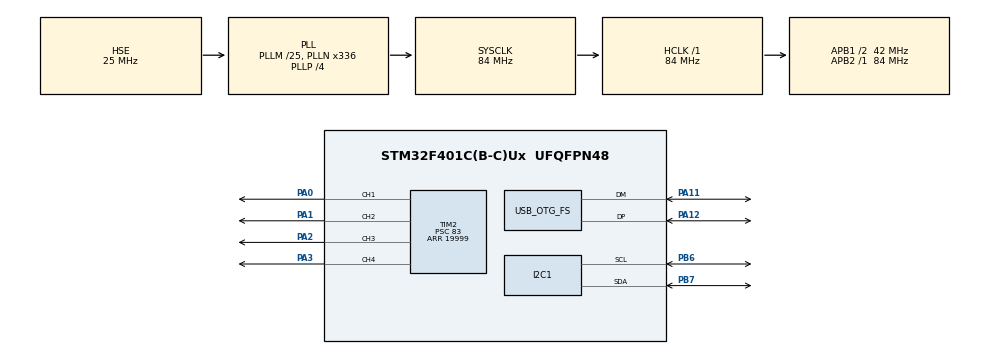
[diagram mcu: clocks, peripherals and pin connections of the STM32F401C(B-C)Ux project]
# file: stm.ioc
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Mcu.Family=STM32F4
Mcu.Name=STM32F401C(B-C)Ux
Mcu.Package=UFQFPN48
NVIC.OTG_FS_IRQn=true\:0\:0\:false\:false\:true\:false\:true\:true
NVIC.PriorityGroup=NVIC_PRIORITYGROUP_4
PA0-WKUP.Signal=S_TIM2_CH1_ETR
PA1.Signal=S_TIM2_CH2
PA11.Mode=Device_Only
PA11.Signal=USB_OTG_FS_DM
PA12.Mode=Device_Only
PA12.Signal=USB_OTG_FS_DP
PA2.Signal=S_TIM2_CH3
PA3.Signal=S_TIM2_CH4
PB6.GPIO_Pu=GPIO_PULLUP
PB6.Mode=I2C
PB6.Signal=I2C1_SCL
PB7.GPIO_Pu=GPIO_PULLUP
PB7.Mode=I2C
PB7.Signal=I2C1_SDA
PH0\ -\ OSC_IN.Mode=HSE-External-Oscillator
PH0\ -\ OSC_IN.Signal=RCC_OSC_IN
PH1\ -\ OSC_OUT.Mode=HSE-External-Oscillator
PH1\ -\ OSC_OUT.Signal=RCC_OSC_OUT
ProjectManager.HeapSize=0x200
ProjectManager.StackSize=0x400
ProjectManager.TargetToolchain=Makefile
RCC.48MHZClocksFreq_Value=48000000
RCC.AHBFreq_Value=84000000
RCC.APB1CLKDivider=RCC_HCLK_DIV2
RCC.APB1Freq_Value=42000000
RCC.APB1TimFreq_Value=84000000
RCC.APB2Freq_Value=84000000
RCC.APB2TimFreq_Value=84000000
RCC.CortexFreq_Value=84000000
RCC.HCLKFreq_Value=84000000
RCC.HSE_VALUE=25000000
RCC.HSI_VALUE=16000000
RCC.LSE_VALUE=32768
RCC.PLLM=25
RCC.PLLN=336
RCC.PLLP=RCC_PLLP_DIV4
RCC.PLLQ=7
RCC.SYSCLKFreq_VALUE=84000000
RCC.SYSCLKSource=RCC_SYSCLKSOURCE_PLLCLK
RCC.VCOOutputFreq_Value=336000000
SH.S_TIM2_CH1_ETR.0=TIM2_CH1,PWM Generation1 CH1
SH.S_TIM2_CH2.0=TIM2_CH2,PWM Generation2 CH2
SH.S_TIM2_CH3.0=TIM2_CH3,PWM Generation3 CH3
SH.S_TIM2_CH4.0=TIM2_CH4,PWM Generation4 CH4
TIM2.AutoReloadPreload=TIM_AUTORELOAD_PRELOAD_ENABLE
TIM2.Channel-PWM\ Generation1\ CH1=TIM_CHANNEL_1
TIM2.Channel-PWM\ Generation2\ CH2=TIM_CHANNEL_2
TIM2.Channel-PWM\ Generation3\ CH3=TIM_CHANNEL_3
TIM2.Channel-PWM\ Generation4\ CH4=TIM_CHANNEL_4
TIM2.Period=19999
TIM2.Prescaler=83
TIM2.Pulse-PWM\ Generation1\ CH1=1500
TIM2.Pulse-PWM\ Generation2\ CH2=1500
TIM2.Pulse-PWM\ Generation3\ CH3=1500
TIM2.Pulse-PWM\ Generation4\ CH4=1500
USB_DEVICE.CLASS_NAME_FS=CDC
USB_DEVICE.VirtualMode=Cdc
USB_DEVICE.VirtualModeFS=Cdc_FS
USB_OTG_FS.VirtualMode=Device_Only
VP_TIM2_VS_ClockSourceINT.Mode=Internal
VP_USB_DEVICE_VS_USB_DEVICE_CDC_FS.Mode=CDC_FS
board=custom

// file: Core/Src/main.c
/* USER CODE BEGIN Header */
/**
  ******************************************************************************
  * @file           : main.c
  * @brief          : Main program body
  ******************************************************************************
  * @attention
  *
  * Copyright (c) 2026 STMicroelectronics.
  * All rights reserved.
  *
  * This software is licensed under terms that can be found in the LICENSE file
  * in the root directory of this software component.
  * If no LICENSE file comes with this software, it is provided AS-IS.
  *
  ******************************************************************************
  */
/* USER CODE END Header */
#include "main.h"
#include "mpu6050.h"
#include "attitude.h"
#include "servo.h"
#include "usbd_cdc_if.h"
#include "usb_device.h"
#include <stdio.h>
#include <string.h>
#include <math.h>

I2C_HandleTypeDef hi2c1;

TIM_HandleTypeDef htim2;

/* USER CODE BEGIN PV */
MPU6050_t  imu;
Attitude_t att;
Servo_t    s1, s2, s3, s4;

char       log_buf[512];
uint32_t   t_ctrl = 0;
uint32_t   t_log  = 0;

#define CTRL_MS   2     // 1000 Hz 控制週期
#define LOG_MS  100     // 10 Hz log

// 速度型 PID (Velocity Form) 狀態變數
float target_mech_pitch = 0.0f;
float target_mech_roll  = 0.0f;

float pitch_prev_err  = 0.0f;
float roll_prev_err   = 0.0f;
float pitch_d_err_lpf = 0.0f;
float roll_d_err_lpf  = 0.0f;

/* Keep last commanded servo angles to avoid tiny jitter updates */
float last_s1_angle = 90.0f;
float last_s2_angle = 90.0f;
float last_s3_angle = 90.0f;
float last_s4_angle = 90.0f;

// 速度型控制增益（對應實際 PID：I 與 P）
#define KI  0.01f   // I 步進增益(累積回正力): 調高可更快消除中小誤差但較易過衝/低頻擺動; 調低更穩但殘差較大、回正較慢
#define KP  0.1f    // P 差分增益(阻尼/煞車): 調高可更抑制過衝與快速晃動但可能變鈍、放大噪聲; 調低反應較靈敏但較容易震盪
#define MAX_MECH_ANGLE  50.0f   // 機構安全極限角度
#define MIN_MECH_ANGLE -50.0f
#define ERR_SOFT_DEADBAND_DEG  0.3f  // 軟死區(度): 調高可減少抖動但殘差變大; 調低可改善小誤差回正但可能更容易微抖
#define DERR_LPF_ALPHA   0.85f    // 差分低通係數(0~1): 調高更平滑、噪聲更少但反應較慢; 調低反應更快但更容易受噪聲影響
#define TARGET_LEAK_GAIN 0.004f   // 目標角泄放係數(每迴圈往0拉回): 調高可抑制累積與自激但殘差可能變大; 調低回正力可維持較久但可能累積過頭
#define MAX_STEP_PER_LOOP  0.6f   // 每迴圈最大步進(度/loop): 調高回正更快但過衝風險增加; 調低更穩定但回正較慢

// 記錄平台水平 (0度) 時，公式算出來的初始機構角度基準，用來對應伺服馬達的 90 度，用來扣除的
// cmd.angle - base_alpha = delta_alpha -> motor angle = 90 + delta_alpha
float base_alpha_R = 0.0f;
float base_alpha_L = 0.0f;
uint32_t last_ctrl_tick = 0;

// ─── 分析記錄模式 ──────────────────────────────────────────
#define ANALYSIS_MODE              1       // 1=高速DATA輸出, 0=普通可讀log
#define DISTURBANCE_THRESHOLD_DEG  3.0f
#define SETTLED_THRESHOLD_DEG      0.5f
#define SETTLED_HOLD_LOOPS         50

// DWT 計時變數 (μs)
volatile uint32_t t_imu_us   = 0;
volatile uint32_t t_filt_us  = 0;
volatile uint32_t t_pid_us   = 0;
volatile uint32_t t_geom_us  = 0;
volatile uint32_t t_servo_us = 0;
volatile uint32_t t_total_us = 0;

// Deadline 統計
volatile uint32_t deadline_miss_count = 0;
volatile uint32_t total_loop_count    = 0;
volatile uint32_t worst_case_us       = 0;

// Step response 偵測狀態
typedef enum { SR_IDLE=0, SR_DISTURBED=1, SR_SETTLING=2, SR_SETTLED=3 } SettlingState;
SettlingState settling_state     = SR_IDLE;
uint32_t      disturbance_tick   = 0;
uint32_t      settled_tick       = 0;
float         peak_disturbance   = 0.0f;
uint32_t      settle_hold_counter = 0;
float         settling_time_ms   = 0.0f;
uint32_t      response_count     = 0;
/* USER CODE END PV */

void SystemClock_Config(void);
static void MX_GPIO_Init(void);
static void MX_I2C1_Init(void);
static void MX_TIM2_Init(void);

/* USER CODE BEGIN 0 */
#ifndef M_PI
#define M_PI 3.14159265358979323846f
#endif

typedef struct {
    float length_L;
    float length_R;
    float angle_L;
    float angle_R;
} ActuatorTarget;

#define CALIB_SETTLE_MS   1200U
#define CALIB_SAMPLES     120U
#define SERVO_UPDATE_DEADBAND 0.5f

#define CALIB_MIN_SPAN_DEG 5.0f

static float adaptive_step_limit(float error_deg)
{
  float abs_error = fabsf(error_deg);

  if (abs_error < 4.0f) {
    return 0.12f;
  }
  if (abs_error < 10.0f) {
    return 0.25f;
  }
  if (abs_error < 20.0f) {
    return 0.40f;
  }
  return MAX_STEP_PER_LOOP;
}

static float apply_soft_deadband(float err_deg, float deadband_deg)
{
  float abs_err = fabsf(err_deg);

  if (abs_err <= deadband_deg) {
    return 0.0f;
  }

  return (err_deg > 0.0f) ? (err_deg - deadband_deg) : (err_deg + deadband_deg);
}

ActuatorTarget calculateTargets(float theta_deg, float a, float b, float k, float C) {
    ActuatorTarget target;

    // 1. 將角度轉換為弧度
    float theta_rad = theta_deg * M_PI / 180.0f;

    // 2. 預先計算 sin 和 cos
    float sin_t = sinf(theta_rad);
    float cos_t = cosf(theta_rad);

    // 3. 代入公式計算 l_R 與 l_L (注意這裡拆解成 X與Y 的平方相加)
    float dx_R = -a * sin_t + k * cos_t - k;
    float dy_R = b + a * cos_t + k * sin_t;
    target.length_R = sqrtf(dx_R * dx_R + dy_R * dy_R);

    float dx_L = -a * sin_t - k * cos_t + k;
    float dy_L = b + a * cos_t - k * sin_t;
    target.length_L = sqrtf(dx_L * dx_L + dy_L * dy_L);

    // 4. 計算馬達旋轉角度 (alpha)
    target.angle_R = (360.0f * target.length_R) / C;
    target.angle_L = (360.0f * target.length_L) / C;

    return target;
}

// ─── DWT Cycle Counter (Cortex-M4, SYSCLK = 84MHz) ───────────────────────────
static inline void DWT_Init(void)
{
    CoreDebug->DEMCR |= CoreDebug_DEMCR_TRCENA_Msk;
    DWT->CYCCNT = 0;
    DWT->CTRL  |= DWT_CTRL_CYCCNTENA_Msk;
}
static inline uint32_t DWT_GetCycles(void)  { return DWT->CYCCNT; }
static inline uint32_t Cycles_to_us(uint32_t c) { return c / 84; }

// ─── Step Response 狀態機 ──────────────────────────────────────────────────
static void StepResponse_Update(float pitch, float roll, uint32_t now_ms)
{
    float mag = sqrtf(pitch * pitch + roll * roll);
    switch (settling_state) {
    case SR_IDLE:
        if (mag > DISTURBANCE_THRESHOLD_DEG) {
            settling_state = SR_DISTURBED;
            disturbance_tick = now_ms;
            peak_disturbance = mag;
            settle_hold_counter = 0;
            response_count++;
        }
        break;
    case SR_DISTURBED:
        if (mag > peak_disturbance) peak_disturbance = mag;
        settling_state = SR_SETTLING;
        break;
    case SR_SETTLING:
        if (mag > peak_disturbance) peak_disturbance = mag;
        if (mag < SETTLED_THRESHOLD_DEG) {
            if (++settle_hold_counter >= SETTLED_HOLD_LOOPS) {
                settling_state   = SR_SETTLED;
                settled_tick     = now_ms;
                settling_time_ms = (float)(settled_tick - disturbance_tick);
            }
        } else {
            settle_hold_counter = 0;
        }
        break;
    case SR_SETTLED: {
        int sn = sprintf(log_buf,
            "STEP_RESP,%lu,peak=%.2f,settle=%.1fms,resp#%lu\r\n",
            (unsigned long)disturbance_tick, peak_disturbance,
            settling_time_ms, (unsigned long)response_count);
        CDC_Transmit_FS((uint8_t*)log_buf, sn);
        HAL_Delay(2);
        settling_state = SR_IDLE;
        break;
		}
    }
}

/* USER CODE END 0 */

int main(void)
{

  /* MCU Configuration--------------------------------------------------------*/

  /* Reset of all peripherals, Initializes the Flash interface and the Systick. */
  HAL_Init();

  /* Configure the system clock */
  SystemClock_Config();

  /* Initialize all configured peripherals */
  MX_GPIO_Init();
  MX_I2C1_Init();
  MX_TIM2_Init();
  MX_USB_DEVICE_Init();

  /* USER CODE BEGIN 2 */
  // HAL_Delay(3000);  // 等 USB CDC 連上

  int n;

  /* ── Servo 初始化 ── */
  Servo_Init(&s1, &htim2, TIM_CHANNEL_1);  // P0, pitch
  Servo_Init(&s2, &htim2, TIM_CHANNEL_2);  // P1, roll
  Servo_Init(&s3, &htim2, TIM_CHANNEL_3);  // P2, roll
  Servo_Init(&s4, &htim2, TIM_CHANNEL_4);  // P3, pitch

  s1.reversed = 0;
  s2.reversed = 0;
  s3.reversed = 1;  // 實測確認需要反向
  s4.reversed = 1;  // 實測確認需要反向

  ActuatorTarget init_cmd = calculateTargets(0.0f, 2.2f, 4.5f, 11.4f, 5.1f);
  base_alpha_R = init_cmd.angle_R;
  base_alpha_L = init_cmd.angle_L;

  Servo_SetAngle(&s1, 90.0f);
  Servo_SetAngle(&s2, 90.0f);
  Servo_SetAngle(&s3, 90.0f);
  Servo_SetAngle(&s4, 90.0f);
  HAL_Delay(500);

  /* ── IMU 初始化 ── */
  if (MPU6050_Init(&imu, &hi2c1) != HAL_OK) {
      n = sprintf(log_buf, "[ERROR] IMU init failed\r\n");
      CDC_Transmit_FS((uint8_t*)log_buf, n);
      while (1);
  }

  /* ── 校正：把平台放水平，靜止 3 秒 ── */
  n = sprintf(log_buf, "[CALIB] Keep platform FLAT and STILL...\r\n");
  CDC_Transmit_FS((uint8_t*)log_buf, n);
  HAL_Delay(3000);
  MPU6050_Calibrate(&imu, &hi2c1, 500);

  n = sprintf(log_buf, "[CALIB] Done! ax_off=%.3f ay_off=%.3f az_off=%.3f\r\n",
              imu.ax_off, imu.ay_off, imu.az_off);
  CDC_Transmit_FS((uint8_t*)log_buf, n);
  HAL_Delay(200);

  /* ── 姿態估計初始化 ── */
  Attitude_Init(&att, 0.96f, CTRL_MS / 1000.0f);

  n = sprintf(log_buf, "[READY] Closed-loop starting...\r\n");
  CDC_Transmit_FS((uint8_t*)log_buf, n);

  DWT_Init();

#if ANALYSIS_MODE
  n = sprintf(log_buf,
    "DATA_HEADER,tick_ms,pitch,roll,tgt_pitch,tgt_roll,"
    "gx,gy,dt_us,t_imu,t_filt,t_pid,t_geom,t_servo,"
    "deadline_miss,settling_state\r\n");
  CDC_Transmit_FS((uint8_t*)log_buf, n);
  HAL_Delay(5);
#endif

  HAL_GPIO_WritePin(GPIOC, GPIO_PIN_13, GPIO_PIN_RESET);

  t_ctrl = HAL_GetTick();
  t_log  = HAL_GetTick();
  last_ctrl_tick = HAL_GetTick();
  /* USER CODE END 2 */

  /* Infinite loop */
  while (1)
  {

    /* USER CODE BEGIN 3 */
    uint32_t now = HAL_GetTick();

    if (now - t_ctrl >= CTRL_MS) {
        t_ctrl = now;
        total_loop_count++;

        float actual_dt = (now - last_ctrl_tick) / 1000.0f;
        last_ctrl_tick = now;
        if (actual_dt < 0.0005f) actual_dt = CTRL_MS / 1000.0f;
        if (actual_dt > 0.020f)  actual_dt = CTRL_MS / 1000.0f;
        att.dt = actual_dt;
        uint32_t dt_us = (uint32_t)(actual_dt * 1000000.0f);

        uint32_t cyc_start = DWT_GetCycles();

        /* 1. IMU 讀取 */
        uint32_t cyc0 = DWT_GetCycles();
        MPU6050_Read(&imu, &hi2c1);
        uint32_t cyc1 = DWT_GetCycles();
        t_imu_us = Cycles_to_us(cyc1 - cyc0);

        /* 2. 互補濾波 */
        Attitude_Update(&att, &imu);
        uint32_t cyc2 = DWT_GetCycles();
        t_filt_us = Cycles_to_us(cyc2 - cyc1);

        /* 3. PID 計算 */
        float err_pitch_raw = 0.0f - att.pitch;
        float err_roll_raw  = 0.0f - att.roll;

        float err_pitch = apply_soft_deadband(err_pitch_raw, ERR_SOFT_DEADBAND_DEG);
        float err_roll  = apply_soft_deadband(err_roll_raw,  ERR_SOFT_DEADBAND_DEG);

        float d_pitch = err_pitch - pitch_prev_err;
        float d_roll  = err_roll  - roll_prev_err;

        pitch_d_err_lpf = (DERR_LPF_ALPHA * pitch_d_err_lpf)
                        + ((1.0f - DERR_LPF_ALPHA) * d_pitch);
        roll_d_err_lpf  = (DERR_LPF_ALPHA * roll_d_err_lpf)
                        + ((1.0f - DERR_LPF_ALPHA) * d_roll);

        float delta_pitch = (KI * err_pitch) + (KP * pitch_d_err_lpf)
                          - (TARGET_LEAK_GAIN * target_mech_pitch);
        float delta_roll  = (KI * err_roll)  + (KP * roll_d_err_lpf)
                          - (TARGET_LEAK_GAIN * target_mech_roll);

        float pitch_step_limit = adaptive_step_limit(err_pitch);
        float roll_step_limit  = adaptive_step_limit(err_roll);

        if (delta_pitch >  pitch_step_limit) delta_pitch =  pitch_step_limit;
        if (delta_pitch < -pitch_step_limit) delta_pitch = -pitch_step_limit;
        if (delta_roll  >  roll_step_limit)  delta_roll  =  roll_step_limit;
        if (delta_roll  < -roll_step_limit)  delta_roll  = -roll_step_limit;

        pitch_prev_err = err_pitch;
        roll_prev_err  = err_roll;

        float next_mech_pitch = target_mech_pitch + delta_pitch;
        float next_mech_roll  = target_mech_roll  + delta_roll;

        if (next_mech_pitch >  MAX_MECH_ANGLE) next_mech_pitch =  MAX_MECH_ANGLE;
        if (next_mech_pitch < MIN_MECH_ANGLE)  next_mech_pitch = MIN_MECH_ANGLE;
        if (next_mech_roll  >  MAX_MECH_ANGLE) next_mech_roll  =  MAX_MECH_ANGLE;
        if (next_mech_roll  < MIN_MECH_ANGLE)  next_mech_roll  = MIN_MECH_ANGLE;

        uint32_t cyc3 = DWT_GetCycles();
        t_pid_us = Cycles_to_us(cyc3 - cyc2);

        /* 4. 幾何計算 */
        float a = 2.2f, b = 4.5f, k = 11.4f, C = 5.1f;

        ActuatorTarget pitch_cmd = calculateTargets(next_mech_pitch, a, b, k, C);
        float s1_angle = 90.0f + (pitch_cmd.angle_R - base_alpha_R);
        float s4_angle = 90.0f - (pitch_cmd.angle_L - base_alpha_L);

        if (s1_angle < 0.0f || s1_angle > 180.0f || s4_angle < 0.0f || s4_angle > 180.0f) {
            pitch_cmd = calculateTargets(target_mech_pitch, a, b, k, C);
            s1_angle = 90.0f + (pitch_cmd.angle_R - base_alpha_R);
            s4_angle = 90.0f - (pitch_cmd.angle_L - base_alpha_L);
        } else {
            target_mech_pitch = next_mech_pitch;
        }

        ActuatorTarget roll_cmd = calculateTargets(next_mech_roll, a, b, k, C);
        float s2_angle = 90.0f + (roll_cmd.angle_R - base_alpha_R);
        float s3_angle = 90.0f - (roll_cmd.angle_L - base_alpha_L);

        if (s2_angle < 0.0f || s2_angle > 180.0f || s3_angle < 0.0f || s3_angle > 180.0f) {
            roll_cmd = calculateTargets(target_mech_roll, a, b, k, C);
            s2_angle = 90.0f + (roll_cmd.angle_R - base_alpha_R);
            s3_angle = 90.0f - (roll_cmd.angle_L - base_alpha_L);
        } else {
            target_mech_roll = next_mech_roll;
        }

        uint32_t cyc4 = DWT_GetCycles();
        t_geom_us = Cycles_to_us(cyc4 - cyc3);

        /* 5. Servo 輸出 */
        if (fabsf(s1_angle - last_s1_angle) > SERVO_UPDATE_DEADBAND) {
          Servo_SetAngle(&s1, s1_angle); last_s1_angle = s1_angle;
        }
        if (fabsf(s4_angle - last_s4_angle) > SERVO_UPDATE_DEADBAND) {
          Servo_SetAngle(&s4, s4_angle); last_s4_angle = s4_angle;
        }
        if (fabsf(s2_angle - last_s2_angle) > SERVO_UPDATE_DEADBAND) {
          Servo_SetAngle(&s2, s2_angle); last_s2_angle = s2_angle;
        }
        if (fabsf(s3_angle - last_s3_angle) > SERVO_UPDATE_DEADBAND) {
          Servo_SetAngle(&s3, s3_angle); last_s3_angle = s3_angle;
        }

        uint32_t cyc5 = DWT_GetCycles();
        t_servo_us = Cycles_to_us(cyc5 - cyc4);
        t_total_us = Cycles_to_us(cyc5 - cyc_start);

        if (t_total_us > (uint32_t)(CTRL_MS * 1000U)) deadline_miss_count++;
        if (t_total_us > worst_case_us) worst_case_us = t_total_us;

        StepResponse_Update(att.pitch, att.roll, now);

#if ANALYSIS_MODE
        {
            /* Log physical angles in pin order A0–A3.
               s3/s4 are reversed=1: Servo_SetAngle flips them internally,
               so physical position = 180 - commanded_angle. */
            float phys_s1 = s1_angle;               /* A0, reversed=0 */
            float phys_s2 = s2_angle;               /* A1, reversed=0 */
            float phys_s3 = 180.0f - s3_angle;      /* A2, reversed=1 */
            float phys_s4 = 180.0f - s4_angle;      /* A3, reversed=1 */
            int n = sprintf(log_buf,
                "DATA,%lu,%.3f,%.3f,%.3f,%.3f,"
                "%.2f,%.2f,%lu,%lu,%lu,%lu,%lu,%lu,"
                "%lu,%d,%.2f,%.2f,%.2f,%.2f\r\n",
                (unsigned long)now,
                att.pitch, att.roll,
                target_mech_pitch, target_mech_roll,
                imu.gx, imu.gy,
                (unsigned long)dt_us,
                (unsigned long)t_imu_us,
                (unsigned long)t_filt_us,
                (unsigned long)t_pid_us,
                (unsigned long)t_geom_us,
                (unsigned long)t_servo_us,
                (unsigned long)deadline_miss_count,
                (int)settling_state,
                phys_s1, phys_s2, phys_s3, phys_s4);
            CDC_Transmit_FS((uint8_t*)log_buf, n);
        }
#endif
    }

#if !ANALYSIS_MODE
    if (now - t_log >= LOG_MS) {
        t_log = now;
        float inst_pitch = 0.0f, inst_roll = 0.0f;
        Attitude_GetInstantAngles(&imu, &inst_pitch, &inst_roll);
        int n = sprintf(log_buf,
            "P:%6.2f R:%6.2f uP:%6.2f uR:%6.2f | "
            "instP:%6.2f instR:%6.2f "
            "gx:%5.2f gy:%5.2f ax:%5.2f ay:%5.2f\r\n",
            att.pitch, att.roll, pitch_prev_err, roll_prev_err,
            inst_pitch, inst_roll,
            imu.gx, imu.gy, imu.ax, imu.ay);
        CDC_Transmit_FS((uint8_t*)log_buf, n);
    }
#endif

    {
        static uint32_t t_summary = 0;
        if (now - t_summary >= 5000) {
            t_summary = now;
            int n = sprintf(log_buf,
                "SUMMARY,loops=%lu,miss=%lu,wcet=%luus,util=%.1f%%\r\n",
                (unsigned long)total_loop_count,
                (unsigned long)deadline_miss_count,
                (unsigned long)worst_case_us,
                (total_loop_count > 0)
                    ? (100.0f * (float)worst_case_us / (float)(CTRL_MS * 1000U))
                    : 0.0f);
            CDC_Transmit_FS((uint8_t*)log_buf, n);
        }
    }
  }
  /* USER CODE END 3 */
}

void SystemClock_Config(void)
{
  RCC_OscInitTypeDef RCC_OscInitStruct = {0};
  RCC_ClkInitTypeDef RCC_ClkInitStruct = {0};

  /** Configure the main internal regulator output voltage
  */
  __HAL_RCC_PWR_CLK_ENABLE();
  __HAL_PWR_VOLTAGESCALING_CONFIG(PWR_REGULATOR_VOLTAGE_SCALE2);

  /** Initializes the RCC Oscillators according to the specified parameters
  * in the RCC_OscInitTypeDef structure.
  */
  RCC_OscInitStruct.OscillatorType = RCC_OSCILLATORTYPE_HSE;
  RCC_OscInitStruct.HSEState = RCC_HSE_ON;
  RCC_OscInitStruct.PLL.PLLState = RCC_PLL_ON;
  RCC_OscInitStruct.PLL.PLLSource = RCC_PLLSOURCE_HSE;
  RCC_OscInitStruct.PLL.PLLM = 25;
  RCC_OscInitStruct.PLL.PLLN = 336;
  RCC_OscInitStruct.PLL.PLLP = RCC_PLLP_DIV4;
  RCC_OscInitStruct.PLL.PLLQ = 7;
  if (HAL_RCC_OscConfig(&RCC_OscInitStruct) != HAL_OK)
  {
    Error_Handler();
  }

  /** Initializes the CPU, AHB and APB buses clocks
  */
  RCC_ClkInitStruct.ClockType = RCC_CLOCKTYPE_HCLK|RCC_CLOCKTYPE_SYSCLK
                              |RCC_CLOCKTYPE_PCLK1|RCC_CLOCKTYPE_PCLK2;
  RCC_ClkInitStruct.SYSCLKSource = RCC_SYSCLKSOURCE_PLLCLK;
  RCC_ClkInitStruct.AHBCLKDivider = RCC_SYSCLK_DIV1;
  RCC_ClkInitStruct.APB1CLKDivider = RCC_HCLK_DIV2;
  RCC_ClkInitStruct.APB2CLKDivider = RCC_HCLK_DIV1;

  if (HAL_RCC_ClockConfig(&RCC_ClkInitStruct, FLASH_LATENCY_2) != HAL_OK)
  {
    Error_Handler();
  }
}

static void MX_I2C1_Init(void)
{

  hi2c1.Instance = I2C1;
  hi2c1.Init.ClockSpeed = 100000;
  hi2c1.Init.DutyCycle = I2C_DUTYCYCLE_2;
  hi2c1.Init.OwnAddress1 = 0;
  hi2c1.Init.AddressingMode = I2C_ADDRESSINGMODE_7BIT;
  hi2c1.Init.DualAddressMode = I2C_DUALADDRESS_DISABLE;
  hi2c1.Init.OwnAddress2 = 0;
  hi2c1.Init.GeneralCallMode = I2C_GENERALCALL_DISABLE;
  hi2c1.Init.NoStretchMode = I2C_NOSTRETCH_DISABLE;
  if (HAL_I2C_Init(&hi2c1) != HAL_OK)
  {
    Error_Handler();
  }

}

static void MX_TIM2_Init(void)
{

  TIM_ClockConfigTypeDef sClockSourceConfig = {0};
  TIM_MasterConfigTypeDef sMasterConfig = {0};
  TIM_OC_InitTypeDef sConfigOC = {0};

  htim2.Instance = TIM2;
  htim2.Init.Prescaler = 83;
  htim2.Init.CounterMode = TIM_COUNTERMODE_UP;
  htim2.Init.Period = 19999;
  htim2.Init.ClockDivision = TIM_CLOCKDIVISION_DIV1;
  htim2.Init.AutoReloadPreload = TIM_AUTORELOAD_PRELOAD_ENABLE;
  if (HAL_TIM_Base_Init(&htim2) != HAL_OK)
  {
    Error_Handler();
  }
  sClockSourceConfig.ClockSource = TIM_CLOCKSOURCE_INTERNAL;
  if (HAL_TIM_ConfigClockSource(&htim2, &sClockSourceConfig) != HAL_OK)
  {
    Error_Handler();
  }
  if (HAL_TIM_PWM_Init(&htim2) != HAL_OK)
  {
    Error_Handler();
  }
  sMasterConfig.MasterOutputTrigger = TIM_TRGO_RESET;
  sMasterConfig.MasterSlaveMode = TIM_MASTERSLAVEMODE_DISABLE;
  if (HAL_TIMEx_MasterConfigSynchronization(&htim2, &sMasterConfig) != HAL_OK)
  {
    Error_Handler();
  }
  sConfigOC.OCMode = TIM_OCMODE_PWM1;
  sConfigOC.Pulse = 1500;
  sConfigOC.OCPolarity = TIM_OCPOLARITY_HIGH;
  sConfigOC.OCFastMode = TIM_OCFAST_DISABLE;
  if (HAL_TIM_PWM_ConfigChannel(&htim2, &sConfigOC, TIM_CHANNEL_1) != HAL_OK)
  {
    Error_Handler();
  }
  if (HAL_TIM_PWM_ConfigChannel(&htim2, &sConfigOC, TIM_CHANNEL_2) != HAL_OK)
  {
    Error_Handler();
  }
  if (HAL_TIM_PWM_ConfigChannel(&htim2, &sConfigOC, TIM_CHANNEL_3) != HAL_OK)
  {
    Error_Handler();
  }
  if (HAL_TIM_PWM_ConfigChannel(&htim2, &sConfigOC, TIM_CHANNEL_4) != HAL_OK)
  {
    Error_Handler();
  }
  HAL_TIM_MspPostInit(&htim2);

}

static void MX_GPIO_Init(void)
{

  /* GPIO Ports Clock Enable */
  __HAL_RCC_GPIOH_CLK_ENABLE();
  __HAL_RCC_GPIOA_CLK_ENABLE();
  __HAL_RCC_GPIOB_CLK_ENABLE();

}

void Error_Handler(void)
{
  __disable_irq();
  while (1)
  {
  }
}
